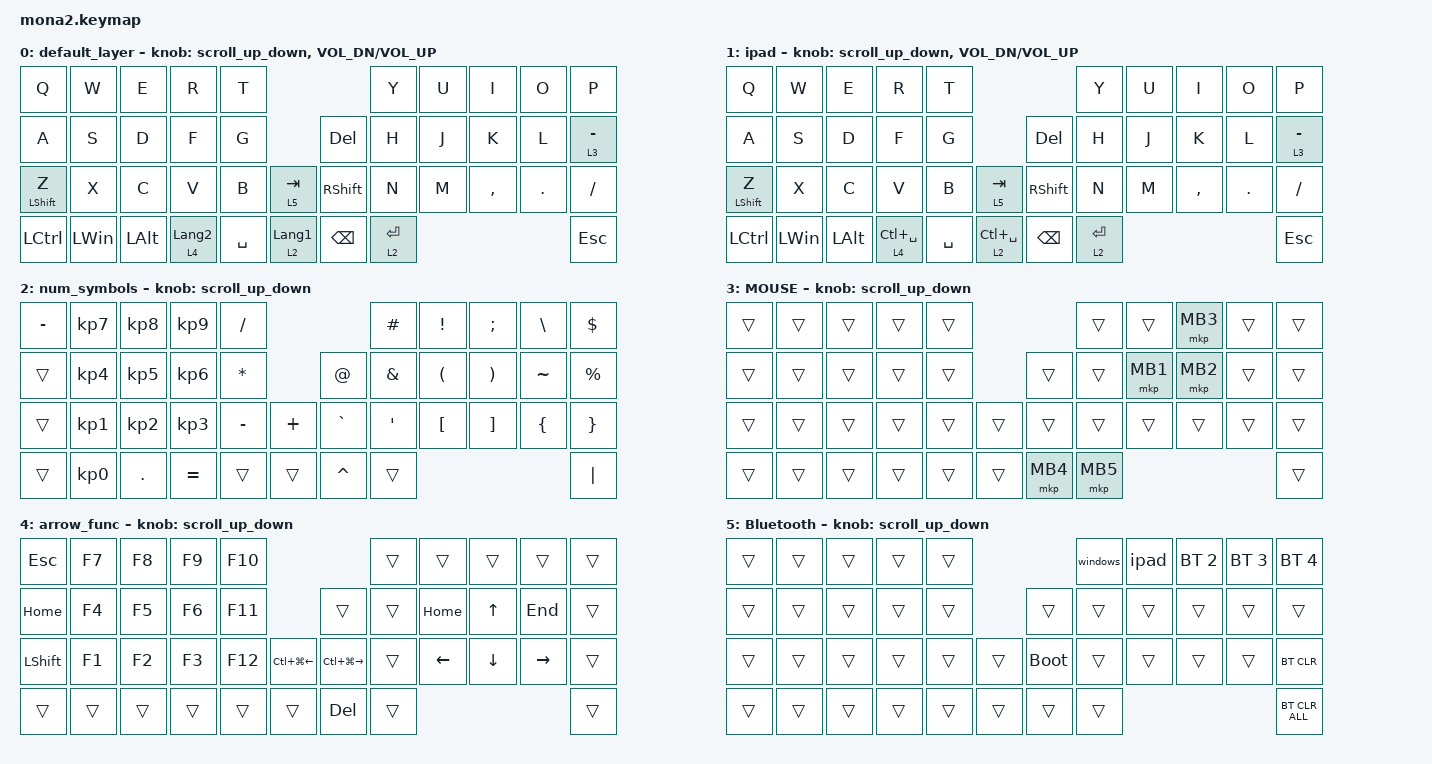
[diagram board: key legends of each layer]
#include <behaviors.dtsi>
#include <dt-bindings/zmk/bt.h>
#include <dt-bindings/zmk/keys.h>
#include <dt-bindings/zmk/pointing.h>

#define ZMK_POINTING_DEFAULT_SCRL_VAL 100
#define MOUSE 5
#define SCROLL 6

&mt {
    flavor = "tap-preferred";
    tapping-term-ms = <280>;
    require-prior-idle-ms = <120>;
    quick-tap-ms = <0>;
};

/ {
    combos { compatible = "zmk,combos"; };

    behaviors {
        scroll_up_down: behavior_sensor_rotate_mouse_wheel_up_down {
            compatible = "zmk,behavior-sensor-rotate";
            #sensor-binding-cells = <0>;
            bindings = <&msc SCRL_UP>, <&msc SCRL_DOWN>;

            tap-ms = <20>;
        };
    };

    macros {
        ipad: ipad {
            compatible = "zmk,behavior-macro";
            #binding-cells = <0>;
            bindings = <&bt BT_SEL 1>, <&macro_wait_time 200>, <&to 1>;

            label = "IPAD";
        };

        windows: windows {
            compatible = "zmk,behavior-macro";
            #binding-cells = <0>;
            bindings = <&bt BT_SEL 0>, <&macro_wait_time 200>, <&to 0>;

            label = "WINDOWS";
        };
    };

    keymap {
        compatible = "zmk,keymap";

        default_layer {
            bindings = <
&kp Q             &kp W         &kp E         &kp R             &kp T                                           &kp Y        &kp U  &kp I      &kp O    &kp P
&kp A             &kp S         &kp D         &kp F             &kp G                          &kp DELETE       &kp H        &kp J  &kp K      &kp L    &lt 3 MINUS
&mt LEFT_SHIFT Z  &kp X         &kp C         &kp V             &kp B      &lt 5 TAB           &kp RIGHT_SHIFT  &kp N        &kp M  &kp COMMA  &kp DOT  &kp SLASH
&kp LCTRL         &kp LEFT_WIN  &kp LEFT_ALT  &lt 4 LANGUAGE_2  &kp SPACE  &lt 2 LANGUAGE_1    &kp BACKSPACE    &lt 2 ENTER                             &kp ESCAPE
            >;

            sensor-bindings =
                <&scroll_up_down>,
                <&inc_dec_kp C_VOL_DN C_VOL_UP>;
        };

        ipad {
            bindings = <
&kp Q             &kp W         &kp E         &kp R            &kp T                                          &kp Y        &kp U  &kp I      &kp O    &kp P
&kp A             &kp S         &kp D         &kp F            &kp G                         &kp DELETE       &kp H        &kp J  &kp K      &kp L    &lt 3 MINUS
&mt LEFT_SHIFT Z  &kp X         &kp C         &kp V            &kp B      &lt 5 TAB          &kp RIGHT_SHIFT  &kp N        &kp M  &kp COMMA  &kp DOT  &kp SLASH
&kp LCTRL         &kp LEFT_WIN  &kp LEFT_ALT  &lt 4 LC(SPACE)  &kp SPACE  &lt 2 LC(SPACE)    &kp BACKSPACE    &lt 2 ENTER                             &kp ESCAPE
            >;

            sensor-bindings =
                <&scroll_up_down>,
                <&inc_dec_kp C_VOL_DN C_VOL_UP>;
        };

        num_symbols {
            bindings = <
&kp MINUS  &kp KP_NUMBER_7  &kp KP_NUMBER_8  &kp KP_NUMBER_9  &kp SLASH                              &kp POUND      &kp EXCLAMATION       &kp SEMICOLON          &kp BACKSLASH   &kp DOLLAR
&trans     &kp KP_NUMBER_4  &kp KP_NUMBER_5  &kp KP_NUMBER_6  &kp ASTERISK              &kp AT_SIGN  &kp AMPERSAND  &kp LEFT_PARENTHESIS  &kp RIGHT_PARENTHESIS  &kp TILDE       &kp PERCENT
&trans     &kp KP_NUMBER_1  &kp KP_NUMBER_2  &kp KP_NUMBER_3  &kp MINUS     &kp PLUS    &kp GRAVE    &kp SQT        &kp LEFT_BRACKET      &kp RIGHT_BRACKET      &kp LEFT_BRACE  &kp RIGHT_BRACE
&trans     &kp KP_NUMBER_0  &kp PERIOD       &kp EQUAL        &trans        &trans      &kp CARET    &trans                                                                      &kp PIPE
            >;

            sensor-bindings = <&scroll_up_down>;
        };

        MOUSE {
            bindings = <
&trans  &trans  &trans  &trans  &trans                      &trans    &trans    &mkp MB3  &trans  &trans
&trans  &trans  &trans  &trans  &trans            &trans    &trans    &mkp MB1  &mkp MB2  &trans  &trans
&trans  &trans  &trans  &trans  &trans  &trans    &trans    &trans    &trans    &trans    &trans  &trans
&trans  &trans  &trans  &trans  &trans  &trans    &mkp MB4  &mkp MB5                              &trans
            >;

            sensor-bindings = <&scroll_up_down>;
        };

        arrow_func {
            bindings = <
&kp ESC         &kp F7  &kp F8  &kp F9  &kp F10                                         &trans  &trans          &trans          &trans           &trans
&kp HOME        &kp F4  &kp F5  &kp F6  &kp F11                      &trans             &trans  &kp HOME        &kp UP_ARROW    &kp END          &trans
&kp LEFT_SHIFT  &kp F1  &kp F2  &kp F3  &kp F12  &kp LC(LG(LEFT))    &kp LC(LG(RIGHT))  &trans  &kp LEFT_ARROW  &kp DOWN_ARROW  &kp RIGHT_ARROW  &trans
&trans          &trans  &trans  &trans  &trans   &trans              &kp DEL            &trans                                                   &trans
            >;

            sensor-bindings = <&scroll_up_down>;
        };

        Bluetooth {
            bindings = <
&trans  &trans  &trans  &trans  &trans                         &windows  &ipad   &bt BT_SEL 2  &bt BT_SEL 3  &bt BT_SEL 4
&trans  &trans  &trans  &trans  &trans            &trans       &trans    &trans  &trans        &trans        &trans
&trans  &trans  &trans  &trans  &trans  &trans    &bootloader  &trans    &trans  &trans        &trans        &bt BT_CLR
&trans  &trans  &trans  &trans  &trans  &trans    &trans       &trans                                        &bt BT_CLR_ALL
            >;

            sensor-bindings = <&scroll_up_down>;
        };
    };
};
